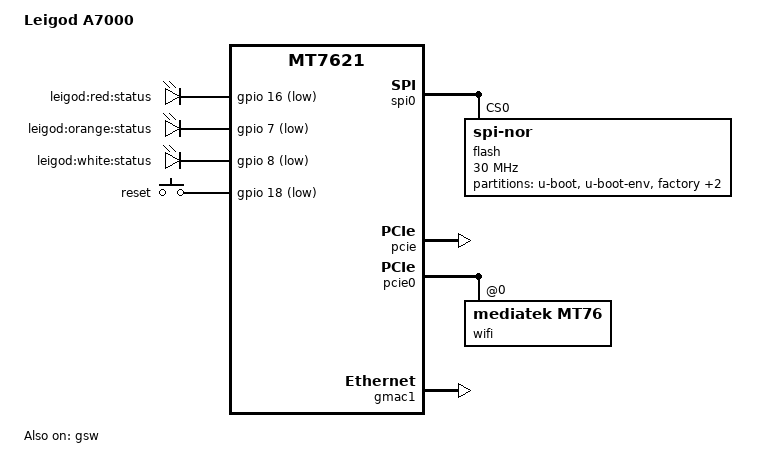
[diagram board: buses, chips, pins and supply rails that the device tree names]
// SPDX-License-Identifier: GPL-2.0-or-later OR MIT

#include "mt7621.dtsi"

#include <dt-bindings/gpio/gpio.h>
#include <dt-bindings/input/input.h>

/ {
	compatible = "leigod,a7000", "mediatek,mt7621-soc";
	model = "Leigod A7000";

	aliases {
		led-boot = &status_white;
		led-failsafe = &status_red;
		led-running = &status_orange;
		led-upgrade = &status_white;
		label-mac-device = &gmac0;
	};

	chosen {
		bootargs = "console=ttyS0,115200";
	};

	leds {
		compatible = "gpio-leds";

		status_red: status_red {
			label = "leigod:red:status";
			gpios = <&gpio 16 GPIO_ACTIVE_LOW>;
		};

		status_orange: status_orange {
			label = "leigod:orange:status";
			gpios = <&gpio 7 GPIO_ACTIVE_LOW>;
		};

		status_white: status_white {
			label = "leigod:white:status";
			gpios = <&gpio 8 GPIO_ACTIVE_LOW>;
		};
	};

	keys {
		compatible = "gpio-keys";

		reset {
			label = "reset";
			gpios = <&gpio 18 GPIO_ACTIVE_LOW>;
			linux,code = <KEY_RESTART>;
		};
	};
};

&spi0 {
	status = "okay";

	flash@0 {
		compatible = "jedec,spi-nor";
		reg = <0>;
		spi-max-frequency = <30000000>;

		partitions {
			compatible = "fixed-partitions";
			#address-cells = <1>;
			#size-cells = <1>;

			partition@0 {
				label = "u-boot";
				reg = <0x0 0x30000>;
				read-only;
			};

			partition@30000 {
				label = "u-boot-env";
				reg = <0x30000 0x10000>;
				read-only;
			};

			factory: partition@40000 {
				label = "factory";
				reg = <0x40000 0x10000>;
				read-only;
			};

			partition@50000 {
				compatible = "denx,uimage";
				label = "firmware";
				reg = <0x50000 0x1e00000>;
			};

      partition@1f00000 {
        label = "sysinfo";
        reg = <0x1f00000 0x10000>;
      };
		};
	};
};

&pcie {
	status = "okay";
};

&pcie0 {
	wifi@0,0 {
		compatible = "mediatek,mt76";
		reg = <0x0000 0 0 0 0>;
		mediatek,mtd-eeprom = <&factory 0x0>;
	};
};

&gmac0 {
	mtd-mac-address = <&factory 0x4>;
};

&gmac1 {
	mtd-mac-address = <&factory 0x4>;
	mtd-mac-address-increment = <1>;
	status = "okay";
};

&gsw {
	mediatek,portmap = "llllw";
	status = "okay";
};

&hnat {
	mtketh-wan = "eth1";
	mtketh-ppd = "eth0";
	mtketh-lan = "eth0";
	mtketh-max-gmac = <2>;
	/delete-property/ mtkdsa-wan-port;
};

&switch0 {
	status = "disabled";
};

&state_default {
	gpio {
		groups = "jtag", "wdt";
		function = "gpio";
	};
};
